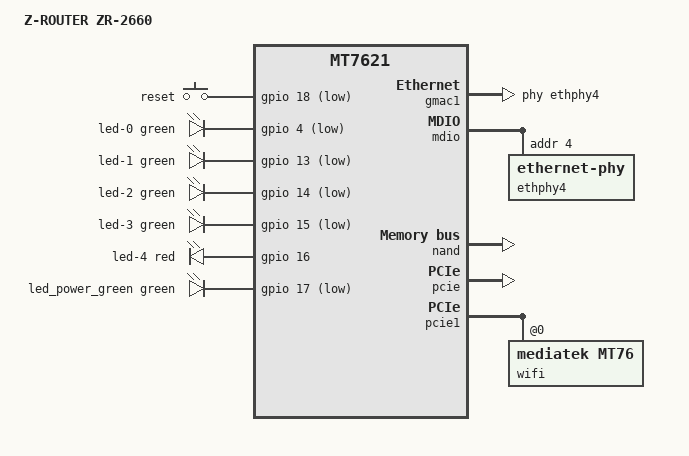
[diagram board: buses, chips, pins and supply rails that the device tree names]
// SPDX-License-Identifier: GPL-2.0-or-later OR MIT

#include "mt7621.dtsi"

#include <dt-bindings/gpio/gpio.h>
#include <dt-bindings/input/input.h>
#include <dt-bindings/leds/common.h>

/ {
	compatible = "z-router,zr-2660", "mediatek,mt7621-soc";
	model = "Z-ROUTER ZR-2660";

	aliases {
		label-mac-device = &gmac0;

		led-boot = &led_power_green;
		led-failsafe = &led_power_green;
		led-running = &led_power_green;
		led-upgrade = &led_power_green;
	};

	chosen {
		bootargs = "console=ttyS0,115200";
	};

	keys {
		compatible = "gpio-keys";

		key-0 {
			label = "reset";
			gpios = <&gpio 18 GPIO_ACTIVE_LOW>;
			linux,code = <KEY_RESTART>;
			debounce-interval = <60>;
		};
	};

	leds {
		compatible = "gpio-leds";

		led-0 {
			color = <LED_COLOR_ID_GREEN>;
			function = LED_FUNCTION_WAN;
			gpios = <&gpio 4 GPIO_ACTIVE_LOW>;
		};

		led-1 {
			color = <LED_COLOR_ID_GREEN>;
			function = LED_FUNCTION_WLAN;
			function-enumerator = <50>;
			gpios = <&gpio 13 GPIO_ACTIVE_LOW>;
			linux,default-trigger = "phy1tpt";
		};

		led-2 {
			color = <LED_COLOR_ID_GREEN>;
			function = LED_FUNCTION_LAN;
			gpios = <&gpio 14 GPIO_ACTIVE_LOW>;
		};

		led-3 {
			color = <LED_COLOR_ID_GREEN>;
			function = LED_FUNCTION_WLAN;
			function-enumerator = <24>;
			gpios = <&gpio 15 GPIO_ACTIVE_LOW>;
			linux,default-trigger = "phy0tpt";
		};

		led-4 {
			color = <LED_COLOR_ID_RED>;
			function = LED_FUNCTION_WAN;
			gpios = <&gpio 16 GPIO_ACTIVE_HIGH>;
		};

		led_power_green: led-5 {
			color = <LED_COLOR_ID_GREEN>;
			function = LED_FUNCTION_POWER;
			gpios = <&gpio 17 GPIO_ACTIVE_LOW>;
		};
	};
};

&gmac0 {
	nvmem-cells = <&macaddr_factory_3fff4>;
	nvmem-cell-names = "mac-address";
};

&gmac1 {
	status = "okay";
	label = "wan";
	phy-handle = <&ethphy4>;

	nvmem-cells = <&macaddr_factory_3fffa>;
	nvmem-cell-names = "mac-address";
};

&mdio {
	ethphy4: ethernet-phy@4 {
		reg = <4>;
	};
};

&nand {
	status = "okay";

	mediatek,nmbm;
	mediatek,bmt-max-ratio = <1>;
	mediatek,bmt-max-reserved-blocks = <64>;

	partitions {
		compatible = "fixed-partitions";
		#address-cells = <1>;
		#size-cells = <1>;

		partition@0 {
			label = "u-boot";
			reg = <0x0 0x80000>;
			read-only;
		};

		partition@80000 {
			label = "Config";
			reg = <0x80000 0x80000>;
			read-only;
		};

		partition@100000 {
			label = "factory";
			reg = <0x100000 0x80000>;
			read-only;

			nvmem-layout {
				compatible = "fixed-layout";
				#address-cells = <1>;
				#size-cells = <1>;

				eeprom_factory_0: eeprom@0 {
					reg = <0x0 0xe00>;
				};

				macaddr_factory_3fff4: macaddr@3fff4 {
					reg = <0x3fff4 0x6>;
				};

				macaddr_factory_3fffa: macaddr@3fffa {
					reg = <0x3fffa 0x6>;
				};
			};
		};

		partition@180000 {
			label = "firmware";
			reg = <0x180000 0x7680000>;

			compatible = "fixed-partitions";
			#address-cells = <1>;
			#size-cells = <1>;

			partition@0 {
				label = "kernel";
				reg = <0x0 0x400000>;
			};

			partition@400000 {
				label = "ubi";
				reg = <0x400000 0x7280000>;
			};
		};
	};
};

&pcie {
	status = "okay";
};

&pcie1 {
	wifi@0,0 {
		compatible = "mediatek,mt76";
		reg = <0x0000 0 0 0 0>;

		mediatek,disable-radar-background;

		nvmem-cells = <&eeprom_factory_0>;
		nvmem-cell-names = "eeprom";
	};
};

&state_default {
	gpio {
		groups = "i2c", "jtag", "wdt";
		function = "gpio";
	};
};

&switch0 {
	ports {
		port@1 {
			status = "okay";
			label = "lan1";
		};

		port@2 {
			status = "okay";
			label = "lan2";
		};

		port@3 {
			status = "okay";
			label = "lan3";
		};
	};
};
